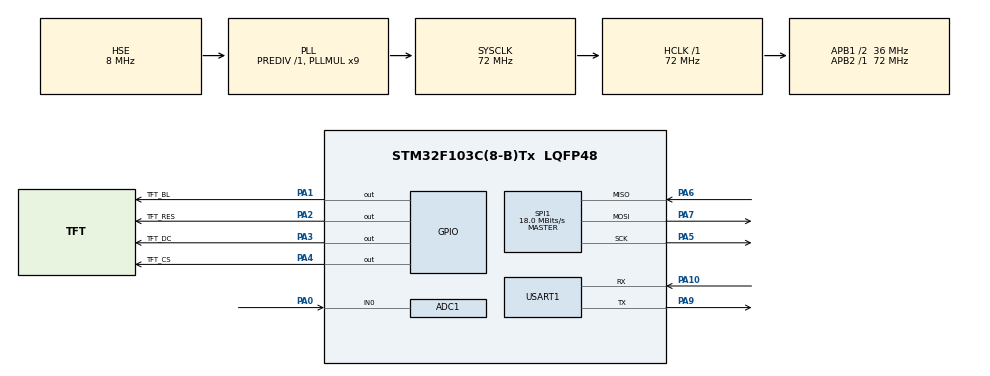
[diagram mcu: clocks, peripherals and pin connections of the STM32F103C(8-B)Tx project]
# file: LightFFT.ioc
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ADC1.Channel-0\#ChannelRegularConversion=ADC_CHANNEL_0
ADC1.ContinuousConvMode=DISABLE
ADC1.EnableInjectedConversion=DISABLE
ADC1.ExternalTrigConv=ADC_EXTERNALTRIGCONV_T3_TRGO
ADC1.InjNumberOfConversion=1
ADC1.NbrOfConversionFlag=1
ADC1.Rank-0\#ChannelRegularConversion=1
ADC1.SamplingTime-0\#ChannelRegularConversion=ADC_SAMPLETIME_55CYCLES_5
ADC1.master=1
Dma.ADC1.0.Direction=DMA_PERIPH_TO_MEMORY
Dma.ADC1.0.Instance=DMA1_Channel1
Dma.ADC1.0.MemDataAlignment=DMA_MDATAALIGN_HALFWORD
Dma.ADC1.0.MemInc=DMA_MINC_ENABLE
Dma.ADC1.0.Mode=DMA_CIRCULAR
Dma.ADC1.0.PeriphDataAlignment=DMA_PDATAALIGN_HALFWORD
Dma.ADC1.0.PeriphInc=DMA_PINC_DISABLE
Dma.ADC1.0.Priority=DMA_PRIORITY_LOW
Dma.Request0=ADC1
Mcu.Family=STM32F1
Mcu.Name=STM32F103C(8-B)Tx
Mcu.Package=LQFP48
NVIC.DMA1_Channel1_IRQn=true\:0\:0\:false\:false\:true\:false\:true
NVIC.PriorityGroup=NVIC_PRIORITYGROUP_4
PA0-WKUP.Signal=ADCx_IN0
PA1.GPIO_Label=TFT_BL
PA1.GPIO_PuPd=GPIO_PULLUP
PA1.GPIO_Speed=GPIO_SPEED_FREQ_HIGH
PA1.PinState=GPIO_PIN_SET
PA1.Signal=GPIO_Output
PA10.Mode=Asynchronous
PA10.Signal=USART1_RX
PA13.Mode=Serial_Wire
PA13.Signal=SYS_JTMS-SWDIO
PA14.Mode=Serial_Wire
PA14.Signal=SYS_JTCK-SWCLK
PA2.GPIO_Label=TFT_RES
PA2.GPIO_PuPd=GPIO_PULLUP
PA2.GPIO_Speed=GPIO_SPEED_FREQ_HIGH
PA2.PinState=GPIO_PIN_SET
PA2.Signal=GPIO_Output
PA3.GPIO_Label=TFT_DC
PA3.GPIO_PuPd=GPIO_PULLUP
PA3.GPIO_Speed=GPIO_SPEED_FREQ_HIGH
PA3.PinState=GPIO_PIN_SET
PA3.Signal=GPIO_Output
PA4.GPIO_Label=TFT_CS
PA4.GPIO_PuPd=GPIO_PULLUP
PA4.GPIO_Speed=GPIO_SPEED_FREQ_HIGH
PA4.PinState=GPIO_PIN_SET
PA4.Signal=GPIO_Output
PA5.Mode=Full_Duplex_Master
PA5.Signal=SPI1_SCK
PA6.Mode=Full_Duplex_Master
PA6.Signal=SPI1_MISO
PA7.Mode=Full_Duplex_Master
PA7.Signal=SPI1_MOSI
PA9.Mode=Asynchronous
PA9.Signal=USART1_TX
PC14-OSC32_IN.Mode=LSE-External-Oscillator
PC14-OSC32_IN.Signal=RCC_OSC32_IN
PC15-OSC32_OUT.Mode=LSE-External-Oscillator
PC15-OSC32_OUT.Signal=RCC_OSC32_OUT
PD0-OSC_IN.Mode=HSE-External-Oscillator
PD0-OSC_IN.Signal=RCC_OSC_IN
PD1-OSC_OUT.Mode=HSE-External-Oscillator
PD1-OSC_OUT.Signal=RCC_OSC_OUT
ProjectManager.HeapSize=0x200
ProjectManager.StackSize=0x400
ProjectManager.TargetToolchain=MDK-ARM V5.32
RCC.ADCPresc=RCC_ADCPCLK2_DIV6
RCC.AHBFreq_Value=72000000
RCC.APB1CLKDivider=RCC_HCLK_DIV2
RCC.APB1Freq_Value=36000000
RCC.APB1TimFreq_Value=72000000
RCC.APB2Freq_Value=72000000
RCC.APB2TimFreq_Value=72000000
RCC.HCLKFreq_Value=72000000
RCC.PLLMUL=RCC_PLL_MUL9
RCC.PLLSourceVirtual=RCC_PLLSOURCE_HSE
RCC.SYSCLKFreq_VALUE=72000000
RCC.SYSCLKSource=RCC_SYSCLKSOURCE_PLLCLK
RCC.USBFreq_Value=72000000
SH.ADCx_IN0.0=ADC1_IN0,IN0
SPI1.BaudRatePrescaler=SPI_BAUDRATEPRESCALER_4
SPI1.CalculateBaudRate=18.0 MBits/s
SPI1.Direction=SPI_DIRECTION_2LINES
SPI1.Mode=SPI_MODE_MASTER
SPI1.VirtualType=VM_MASTER
TIM3.AutoReloadPreload=TIM_AUTORELOAD_PRELOAD_ENABLE
TIM3.Period=2000
TIM3.Prescaler=72-1
TIM3.TIM_MasterOutputTrigger=TIM_TRGO_UPDATE
USART1.VirtualMode=VM_ASYNC
VP_TIM3_VS_ClockSourceINT.Mode=Internal
board=custom

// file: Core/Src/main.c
/* USER CODE BEGIN Header */
/**
  ******************************************************************************
  * @file           : main.c
  * @brief          : Main program body
  ******************************************************************************
  * @attention
  *
  * Copyright (c) 2024 STMicroelectronics.
  * All rights reserved.
  *
  * This software is licensed under terms that can be found in the LICENSE file
  * in the root directory of this software component.
  * If no LICENSE file comes with this software, it is provided AS-IS.
  *
  ******************************************************************************
  */
/* USER CODE END Header */
#include "main.h"
#include "adc.h"
#include "dma.h"
#include "spi.h"
#include "tim.h"
#include "usart.h"
#include "gpio.h"

/* USER CODE BEGIN Includes */
#include <stdio.h>
#include <math.h>
#include "stm32_dsp.h"
#include "table_fft.h"
#include "lcd_init.h"
#include "lcd.h"
#include "pic.h"
/* USER CODE END Includes */

/* USER CODE BEGIN PTD */
extern  UART_HandleTypeDef huart1;

int fputc(int ch, FILE *f)
{
		HAL_UART_Transmit(&huart1 ,(uint8_t *)&ch,1,HAL_MAX_DELAY);
	  return ch;
 }
/* USER CODE END PTD */

/* USER CODE BEGIN PV */
#define  FFTNUM  1024
long  lBufInArray[FFTNUM];    /* FFT IN */
long  lBufOutArray[FFTNUM/2]; /* FFT OUT */
long  lBufMagArray[FFTNUM/2];

#define NUM 1024
uint16_t lightbuffer[NUM];
volatile uint8_t AdcConvEnd = 0;
uint16_t MAX_Index = 0;
uint16_t MAX_Value = 0;
char showstr[50];
// 0.4883
/* USER CODE END PV */

void SystemClock_Config(void);
/* USER CODE BEGIN PFP */
void GetPowerMag(void)
{
  s16 lx,ly;
	u32 i;
	MAX_Value = 0;
	MAX_Index = 0;
	for(i=0;i<FFTNUM/2;i++)//??FFT?????????????????,???????
	{
		lx = (lBufOutArray[i] << 16)>>16;      //?????,??
		ly = (lBufOutArray[i] >> 16);          //?????,??
		float X = FFTNUM*((float)lx)/32768;
		float Y = FFTNUM*((float)ly)/32768;
		float Mag = sqrt(X*X+Y*Y)/FFTNUM;
		if(i == 0){
           lBufMagArray[i] = (unsigned long)(Mag * 32768);
		}
        else{
           lBufMagArray[i] = (unsigned long)(Mag * 65536);
					if(lBufMagArray[i] >= MAX_Value)
					{
						MAX_Value =lBufMagArray[i];
						MAX_Index = i;
					}

    }

	}
	//  FFT结果输出
  	printf("当前闪烁频率为 %.3f\r\n", (MAX_Index)*500.0/1024);
    sprintf(showstr, "%.3f", (MAX_Index)*500.0/1024);
}

//快排
int quick_sort(long *a, int low, int high)
{
	int i = low;
	int j = high;
	long key = a[i];
	while (i < j)
	{
		while(i < j && a[j] >= key)
		{
			j--;
		}
		a[i] = a[j];
		while(i < j && a[i] <= key)
		{
			i++;
		}
		a[j] = a[i];
	}
	a[i] = key;
	if (i-1 > low)
	{
		quick_sort(a, low, i-1);
	}
	if (i+1 < high)
	{
		quick_sort(a, i+1, high);
	}
	return 0;
}

/* USER CODE END PFP */

int main(void)
{

  /* MCU Configuration--------------------------------------------------------*/

  /* Reset of all peripherals, Initializes the Flash interface and the Systick. */
  HAL_Init();

  /* Configure the system clock */
  SystemClock_Config();

  /* Initialize all configured peripherals */
  MX_GPIO_Init();
  MX_USART1_UART_Init();
  MX_DMA_Init();
  MX_ADC1_Init();
  MX_TIM3_Init();
  MX_SPI1_Init();
  /* USER CODE BEGIN 2 */
	HAL_TIM_Base_Start(&htim3);
	HAL_ADC_Start_DMA(&hadc1, (uint32_t *)lightbuffer, NUM);

	printf("start test\r\n");
	float t=0;
  LCD_Init();//LCD初始化
	LCD_Fill(0,0,LCD_W,LCD_H,WHITE);

  /* USER CODE END 2 */

  /* Infinite loop */
  /* USER CODE BEGIN WHILE */
  while (1)
  {

		while (!AdcConvEnd) ;
		AdcConvEnd   = 0;
//	  ADC结果输出
//		for (uint16_t i = 0; i < NUM; i++)
//		{
//			printf("%.5f\r\n", lightbuffer[i] * 3.3 / 4095 *1000 ); //mV
//		}
	 	for (uint16_t i = 0; i < NUM; i++)
		{
			lBufInArray[i] = ((signed short)lightbuffer[i] - 2048) << 16 ;
		}
		cr4_fft_1024_stm32(lBufOutArray,lBufInArray, FFTNUM);

	  GetPowerMag();
//	//5 - 10Hz 0.4883 一共12个点   屏幕太小了 显示不全
//  	for(int i=10;i<21;i++)
//	 {
//		u16 dx = 128 / 12;
//		u16 x1 = dx * (i-10);
//		u16 x2 = x1 + dx;
//		LCD_DrawLine(x1,lBufMagArray[i]/8,x2,lBufMagArray[i+1]/8,RED);
//   }
//	LCD_ShowString(0,100,"5  6  7  8  9 10",RED,WHITE,16,0);
      LCD_ShowString(10,20,"Stim Freq",RED,WHITE,16,0);
		  //LCD_ShowFloatNum1(72,50,(MAX_Index-1)*500.0/1024,3,RED,WHITE,16);
		 LCD_ShowString(50,70,showstr,RED,WHITE,16,0);
//    FFT结果输出
//		printf("%ld\r\n", lBufMagArray[i] );

    /* USER CODE END WHILE */

  }
}

void SystemClock_Config(void)
{
  RCC_OscInitTypeDef RCC_OscInitStruct = {0};
  RCC_ClkInitTypeDef RCC_ClkInitStruct = {0};
  RCC_PeriphCLKInitTypeDef PeriphClkInit = {0};

  /** Initializes the RCC Oscillators according to the specified parameters
  * in the RCC_OscInitTypeDef structure.
  */
  RCC_OscInitStruct.OscillatorType = RCC_OSCILLATORTYPE_HSE;
  RCC_OscInitStruct.HSEState = RCC_HSE_ON;
  RCC_OscInitStruct.HSEPredivValue = RCC_HSE_PREDIV_DIV1;
  RCC_OscInitStruct.HSIState = RCC_HSI_ON;
  RCC_OscInitStruct.PLL.PLLState = RCC_PLL_ON;
  RCC_OscInitStruct.PLL.PLLSource = RCC_PLLSOURCE_HSE;
  RCC_OscInitStruct.PLL.PLLMUL = RCC_PLL_MUL9;
  if (HAL_RCC_OscConfig(&RCC_OscInitStruct) != HAL_OK)
  {
    Error_Handler();
  }
  /** Initializes the CPU, AHB and APB buses clocks
  */
  RCC_ClkInitStruct.ClockType = RCC_CLOCKTYPE_HCLK|RCC_CLOCKTYPE_SYSCLK
                              |RCC_CLOCKTYPE_PCLK1|RCC_CLOCKTYPE_PCLK2;
  RCC_ClkInitStruct.SYSCLKSource = RCC_SYSCLKSOURCE_PLLCLK;
  RCC_ClkInitStruct.AHBCLKDivider = RCC_SYSCLK_DIV1;
  RCC_ClkInitStruct.APB1CLKDivider = RCC_HCLK_DIV2;
  RCC_ClkInitStruct.APB2CLKDivider = RCC_HCLK_DIV1;

  if (HAL_RCC_ClockConfig(&RCC_ClkInitStruct, FLASH_LATENCY_2) != HAL_OK)
  {
    Error_Handler();
  }
  PeriphClkInit.PeriphClockSelection = RCC_PERIPHCLK_ADC;
  PeriphClkInit.AdcClockSelection = RCC_ADCPCLK2_DIV6;
  if (HAL_RCCEx_PeriphCLKConfig(&PeriphClkInit) != HAL_OK)
  {
    Error_Handler();
  }
}

void Error_Handler(void)
{
  __disable_irq();
  while (1)
  {
  }
}
